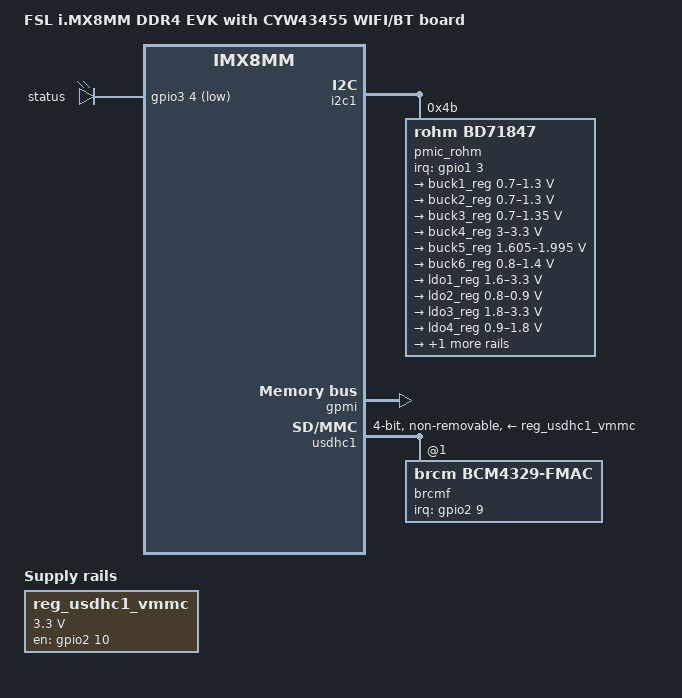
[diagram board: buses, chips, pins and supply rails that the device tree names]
// SPDX-License-Identifier: GPL-2.0+
/*
 * Copyright 2020 NXP
 */

/dts-v1/;

#include "imx8mm-evk.dtsi"

/ {
	model = "FSL i.MX8MM DDR4 EVK with CYW43455 WIFI/BT board";
	compatible = "fsl,imx8mm-ddr4-evk", "fsl,imx8mm";

	leds {
		pinctrl-0 = <&pinctrl_gpio_led_2>;

		status {
			gpios = <&gpio3 4 GPIO_ACTIVE_LOW>;
		};
	};

	reg_usdhc1_vmmc: regulator-usdhc1 {
		compatible = "regulator-fixed";
		regulator-name = "WLAN_EN";
		pinctrl-names = "default";
		pinctrl-0 = <&pinctrl_reg_usdhc1_vmmc>;
		regulator-min-microvolt = <3300000>;
		regulator-max-microvolt = <3300000>;
		gpio = <&gpio2 10 GPIO_ACTIVE_HIGH>;
		enable-active-high;
	};
};

/delete-node/&pmic_nxp;

&i2c1 {
	pmic_rohm: pmic@4b {
		compatible = "rohm,bd71847";
		reg = <0x4b>;
		pinctrl-0 = <&pinctrl_pmic>;
		pinctrl-names = "default";
		interrupt-parent = <&gpio1>;
		interrupts = <3 GPIO_ACTIVE_LOW>;
		rohm,reset-snvs-powered;

		#clock-cells = <0>;
		clocks = <&osc_32k 0>;
		clock-output-names = "clk-32k-out";

		regulators {
			buck1_reg: BUCK1 {
				regulator-name = "BUCK1";
				regulator-min-microvolt = <700000>;
				regulator-max-microvolt = <1300000>;
				regulator-boot-on;
				regulator-always-on;
				regulator-ramp-delay = <1250>;
			};

			buck2_reg: BUCK2 {
				regulator-name = "BUCK2";
				regulator-min-microvolt = <700000>;
				regulator-max-microvolt = <1300000>;
				regulator-boot-on;
				regulator-always-on;
				regulator-ramp-delay = <1250>;
				rohm,dvs-run-voltage = <1000000>;
				rohm,dvs-idle-voltage = <900000>;
			};

			buck3_reg: BUCK3 {
				// BUCK5 in datasheet
				regulator-name = "BUCK3";
				regulator-min-microvolt = <700000>;
				regulator-max-microvolt = <1350000>;
				regulator-boot-on;
				regulator-always-on;
			};

			buck4_reg: BUCK4 {
				// BUCK6 in datasheet
				regulator-name = "BUCK4";
				regulator-min-microvolt = <3000000>;
				regulator-max-microvolt = <3300000>;
				regulator-boot-on;
				regulator-always-on;
			};

			buck5_reg: BUCK5 {
				// BUCK7 in datasheet
				regulator-name = "BUCK5";
				regulator-min-microvolt = <1605000>;
				regulator-max-microvolt = <1995000>;
				regulator-boot-on;
				regulator-always-on;
			};

			buck6_reg: BUCK6 {
				// BUCK8 in datasheet
				regulator-name = "BUCK6";
				regulator-min-microvolt = <800000>;
				regulator-max-microvolt = <1400000>;
				regulator-boot-on;
				regulator-always-on;
			};

			ldo1_reg: LDO1 {
				regulator-name = "LDO1";
				regulator-min-microvolt = <1600000>;
				regulator-max-microvolt = <3300000>;
				regulator-boot-on;
				regulator-always-on;
			};

			ldo2_reg: LDO2 {
				regulator-name = "LDO2";
				regulator-min-microvolt = <800000>;
				regulator-max-microvolt = <900000>;
				regulator-boot-on;
				regulator-always-on;
			};

			ldo3_reg: LDO3 {
				regulator-name = "LDO3";
				regulator-min-microvolt = <1800000>;
				regulator-max-microvolt = <3300000>;
				regulator-boot-on;
				regulator-always-on;
			};

			ldo4_reg: LDO4 {
				regulator-name = "LDO4";
				regulator-min-microvolt = <900000>;
				regulator-max-microvolt = <1800000>;
				regulator-boot-on;
				regulator-always-on;
			};

			ldo6_reg: LDO6 {
				regulator-name = "LDO6";
				regulator-min-microvolt = <900000>;
				regulator-max-microvolt = <1800000>;
				regulator-boot-on;
				regulator-always-on;
			};
		};
	};
};

&gpmi {
	pinctrl-names = "default";
	pinctrl-0 = <&pinctrl_gpmi_nand>;
	status = "okay";
	fsl,use-minimum-ecc;
};

&usdhc1 {
	#address-cells = <1>;
	#size-cells = <0>;
	pinctrl-names = "default", "state_100mhz", "state_200mhz";
	pinctrl-0 = <&pinctrl_usdhc1>, <&pinctrl_wlan>;
	pinctrl-1 = <&pinctrl_usdhc1_100mhz>, <&pinctrl_wlan>;
	pinctrl-2 = <&pinctrl_usdhc1_200mhz>, <&pinctrl_wlan>;
	bus-width = <4>;
	cap-power-off-card;
	pm-ignore-notify;
	keep-power-in-suspend;
	non-removable;
	vmmc-supply = <&reg_usdhc1_vmmc>;
	status = "okay";

	brcmf: bcrmf@1 {
		reg = <1>;
		compatible = "brcm,bcm4329-fmac";
		interrupt-parent = <&gpio2>;
		interrupts = <9 IRQ_TYPE_LEVEL_HIGH>;
		interrupt-names = "host-wake";
	};
};

&iomuxc {
	pinctrl_reg_usdhc1_vmmc: regusdhc1vmmcgrp {
		fsl,pins = <
			MX8MM_IOMUXC_SD1_RESET_B_GPIO2_IO10	0x141
		>;
	};

	pinctrl_gpmi_nand: gpminandgrp {
		fsl,pins = <
			MX8MM_IOMUXC_NAND_ALE_RAWNAND_ALE		0x00000096
			MX8MM_IOMUXC_NAND_CE0_B_RAWNAND_CE0_B		0x00000096
			MX8MM_IOMUXC_NAND_CE1_B_RAWNAND_CE1_B		0x00000096
			MX8MM_IOMUXC_NAND_CLE_RAWNAND_CLE		0x00000096
			MX8MM_IOMUXC_NAND_DATA00_RAWNAND_DATA00		0x00000096
			MX8MM_IOMUXC_NAND_DATA01_RAWNAND_DATA01		0x00000096
			MX8MM_IOMUXC_NAND_DATA02_RAWNAND_DATA02		0x00000096
			MX8MM_IOMUXC_NAND_DATA03_RAWNAND_DATA03		0x00000096
			MX8MM_IOMUXC_NAND_DATA04_RAWNAND_DATA04		0x00000096
			MX8MM_IOMUXC_NAND_DATA05_RAWNAND_DATA05		0x00000096
			MX8MM_IOMUXC_NAND_DATA06_RAWNAND_DATA06		0x00000096
			MX8MM_IOMUXC_NAND_DATA07_RAWNAND_DATA07		0x00000096
			MX8MM_IOMUXC_NAND_RE_B_RAWNAND_RE_B		0x00000096
			MX8MM_IOMUXC_NAND_READY_B_RAWNAND_READY_B	0x00000056
			MX8MM_IOMUXC_NAND_WE_B_RAWNAND_WE_B		0x00000096
			MX8MM_IOMUXC_NAND_WP_B_RAWNAND_WP_B		0x00000096
		>;
	};

	pinctrl_gpio_led_2: gpioled2grp {
		fsl,pins = <
			MX8MM_IOMUXC_NAND_CE3_B_GPIO3_IO4	0x19
		>;
	};

	pinctrl_wlan: wlangrp {
		fsl,pins = <
			MX8MM_IOMUXC_GPIO1_IO00_ANAMIX_REF_CLK_32K	0x141
			MX8MM_IOMUXC_SD1_DATA7_GPIO2_IO9		0x111
		>;
	};
};
